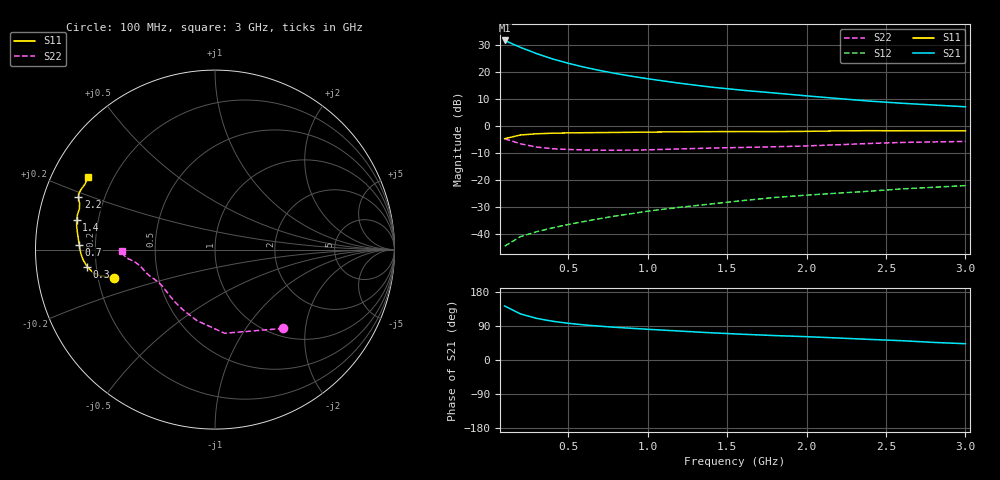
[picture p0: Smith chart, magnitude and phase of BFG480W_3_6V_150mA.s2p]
! Filename: 3_6150BFG480.001
! Title: BFG480W
! Bias: Vce=3.6V; Ic=150mA
! Company: Philips Semiconductors NL
! User: Quality&Reliability T&D
! Measure time: 10 Nov 1999 / 12:02:00
#  MHz  S  MA  R 50
! Freq  S11  S21  S12  S22  :
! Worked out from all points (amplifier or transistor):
!   20 points, 100 MHz to 3 GHz, reference 50 ohm
!   highest |S21| = 31.8 dB at 100 MHz (marker M1)
!   |S21| within 3 dB of that: start of sweep to 219 MHz
!   unconditionally stable (mu >= 1): 375.8 MHz to end of sweep
!   at 400 MHz: K = 1.02, MAG = 30.6 dB, |S12| = -37.8 dB
!   at 1.2 GHz: K = 1.17, MAG = 20.6 dB, |S12| = -30.2 dB
!   at 3 GHz: K = 1.12, MAG = 12.5 dB, |S12| = -22.1 dB
!   S11 on the Smith chart (normalised r, x): 100 MHz: 0.27, -0.13; 300 MHz: 0.16, -0.06; 700 MHz: 0.14, +0.02; 1.4 GHz: 0.12, +0.10; 2.2 GHz: 0.11, +0.18; 3 GHz: 0.11, +0.26
100  0.5833 -164.1  38.82 142.5  0.005897 65.2  0.5815 -49.0
200  0.6826 -168.3  28.89 121.5  0.008865 59.6  0.4693 -83.4
300  0.719 -172.4  22.21 110.0  0.01089 60.5  0.4079 -104.4
400  0.7367 -175.5  17.68 102.4  0.01287 63.3  0.3803 -117.8
500  0.7464 -178.0  14.65 96.9  0.01489 65.7  0.3676 -127.0
600  0.7527 179.9  12.4 92.6  0.01695 68.0  0.361 -133.5
700  0.7566 178.0  10.76 89.2  0.01916 70.2  0.3574 -138.4
800  0.7616 176.2  9.45 86.2  0.02146 71.9  0.3565 -142.4
900  0.7667 174.6  8.401 83.6  0.02371 73.5  0.358 -145.9
1000  0.7722 173.0  7.566 81.1  0.02628 74.5  0.3621 -149.0
1200  0.7821 170.3  6.247 76.4  0.03104 75.9  0.3758 -154.0
1400  0.7881 168.0  5.288 71.8  0.03584 76.5  0.3906 -157.6
1600  0.7908 165.7  4.615 67.9  0.04139 77.0  0.4013 -160.5
1800  0.7893 163.2  4.106 64.5  0.04727 77.3  0.4124 -163.9
2000  0.7977 161.1  3.636 61.6  0.05223 77.8  0.4278 -167.8
2200  0.8146 159.1  3.242 58.0  0.05688 77.5  0.4502 -171.1
2400  0.8208 157.3  2.903 54.3  0.06188 76.9  0.4759 -173.3
2600  0.8167 155.5  2.651 50.9  0.06824 76.0  0.4967 -174.7
2800  0.8108 153.1  2.457 46.4  0.07303 74.4  0.5082 -176.5
3000  0.8161 150.4  2.282 43.0  0.07856 73.5  0.5179 -179.3
